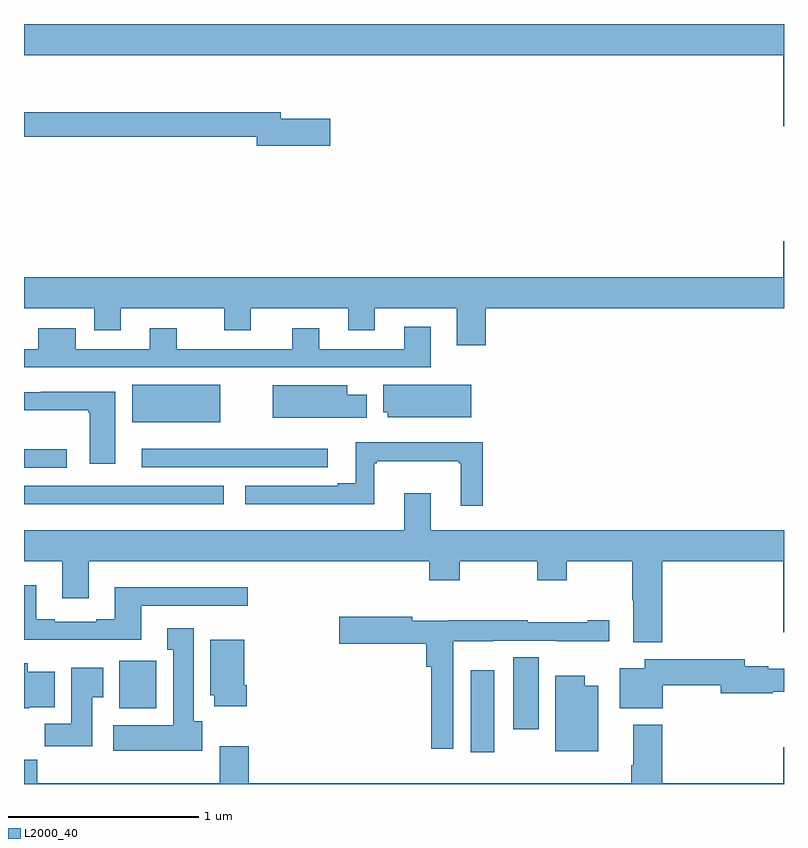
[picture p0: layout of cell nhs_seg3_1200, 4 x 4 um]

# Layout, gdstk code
import gdstk
lib = gdstk.Library(unit=1e-6, precision=1e-09)
def R(c, l, rs):  # rectangles x0, y0, x1, y1
    for r in rs: c.add(gdstk.rectangle(r[:2], r[2:], *l))
def P(c, l, *ps):  # polygons
    for p in ps: c.add(gdstk.Polygon(p, *l))
L2000_40 = (2000, 40)

nhs_seg3_1200 = lib.new_cell('nhs_seg3_1200')
R(nhs_seg3_1200, L2000_40, [(175.352,710.568,175.474,710.998), (175.574,710.688,175.708,711.068), (173.501,710.798,173.697,711.049), (173,711.872,174.052,711.969), (173,712.065,173.224,712.163), (173.619,712.068,174.598,712.165), (173.57,712.304,174.034,712.501)])
P(nhs_seg3_1200, L2000_40, [(177,714.4),(173,714.4),(173,714.236),(176.996,714.236),(176.996,713.862),(177,713.862)],
  [(174.613,713.901),(174.352,713.901),(174.352,713.935),(173,713.935),(173,713.806),(174.224,713.806),(174.224,713.759),(174.613,713.759)],
  [(175.43,712.904),(177,712.904),(177,713.257),(176.996,713.257),(176.996,713.068),(173,713.068),(173,712.904),(173.369,712.904),(173.369,712.787),(173.509,712.787),(173.509,712.904),(174.053,712.904),(174.053,712.787),(174.193,712.787),(174.193,712.904),(174.707,712.904),(174.707,712.787),(174.847,712.787),(174.847,712.904),(175.277,712.904),(175.277,712.71),(175.43,712.71)],
  [(175.141,712.807),(175.001,712.807),(175.001,712.689),(174.553,712.689),(174.553,712.798),(174.413,712.798),(174.413,712.689),(173.803,712.689),(173.803,712.798),(173.663,712.798),(173.663,712.689),(173.272,712.689),(173.272,712.798),(173.075,712.798),(173.075,712.689),(173,712.689),(173,712.593),(175.141,712.593)],
  [(175.354,712.501),(174.89,712.501),(174.89,712.356),(174.915,712.356),(174.915,712.331),(175.354,712.331)],
  [(174.805,712.45),(174.7,712.45),(174.7,712.498),(174.308,712.498),(174.308,712.328),(174.805,712.328)],
  [(173.479,712.464),(173.089,712.464),(173.089,712.463),(173,712.463),(173,712.367),(173.338,712.367),(173.338,712.356),(173.345,712.356),(173.345,712.086),(173.479,712.086)],
  [(175.415,712.198),(174.746,712.198),(174.746,711.982),(174.65,711.982),(174.65,711.969),(174.165,711.969),(174.165,711.872),(174.844,711.872),(174.844,712.089),(174.856,712.089),(174.856,712.1),(175.287,712.1),(175.287,712.089),(175.298,712.089),(175.298,711.864),(175.415,711.864)],
  [(176.36,711.572),(176.996,711.572),(176.996,711.198),(177,711.198),(177,711.736),(175.141,711.736),(175.141,711.931),(175.001,711.931),(175.001,711.736),(173,711.736),(173,711.572),(173.201,711.572),(173.201,711.378),(173.341,711.378),(173.341,711.572),(175.133,711.572),(175.133,711.473),(175.293,711.473),(175.293,711.572),(175.702,711.572),(175.702,711.473),(175.857,711.473),(175.857,711.572),(176.2,711.572),(176.2,711.368),(176.207,711.368),(176.207,711.147),(176.36,711.147)],
  [(173.617,711.339),(174.178,711.339),(174.178,711.436),(173.477,711.436),(173.477,711.268),(173.381,711.268),(173.381,711.255),(173.161,711.255),(173.161,711.268),(173.065,711.268),(173.065,711.445),(173,711.445),(173,711.158),(173.617,711.158)],
  [(175.26,711.152),(175.47,711.152),(175.47,711.153),(175.804,711.153),(175.804,711.152),(176.08,711.152),(176.08,711.262),(175.967,711.262),(175.967,711.252),(175.652,711.252),(175.652,711.262),(175.236,711.262),(175.236,711.259),(175.044,711.259),(175.044,711.279),(174.66,711.279),(174.66,711.137),(175.118,711.137),(175.118,711.017),(175.144,711.017),(175.144,710.586),(175.26,710.586)],
  [(173.938,710.73),(173.893,710.73),(173.893,711.22),(173.753,711.22),(173.753,711.107),(173.786,711.107),(173.786,710.71),(173.469,710.71),(173.469,710.576),(173.938,710.576)],
  [(174.173,710.92),(174.16,710.92),(174.16,711.16),(173.981,711.16),(173.981,710.868),(174.002,710.868),(174.002,710.808),(174.173,710.808)],
  [(176.362,710.92),(176.666,710.92),(176.666,710.878),(176.942,710.878),(176.942,710.885),(177,710.885),(177,711.007),(176.916,711.007),(176.916,711.02),(176.794,711.02),(176.794,711.056),(176.268,711.056),(176.268,711.01),(176.135,711.01),(176.135,710.798),(176.362,710.798)],
  [(173.028,710.804),(173.161,710.804),(173.161,710.992),(173.02,710.992),(173.02,711.036),(173,711.036),(173,710.798),(173.028,710.798)],
  [(173.359,710.857),(173.416,710.857),(173.416,711.013),(173.249,711.013),(173.249,710.716),(173.11,710.716),(173.11,710.598),(173.359,710.598)],
  [(176.023,710.917),(175.951,710.917),(175.951,710.971),(175.796,710.971),(175.796,710.573),(176.023,710.573)],
  [(177,710.593),(176.996,710.593),(176.996,710.404),(176.36,710.404),(176.36,710.713),(176.207,710.713),(176.207,710.5),(176.195,710.5),(176.195,710.404),(174.182,710.404),(174.182,710.599),(174.029,710.599),(174.029,710.404),(173.069,710.404),(173.069,710.528),(173,710.528),(173,710.4),(177,710.4)])

lib.write_gds('nhs_seg3_1200.gds')
